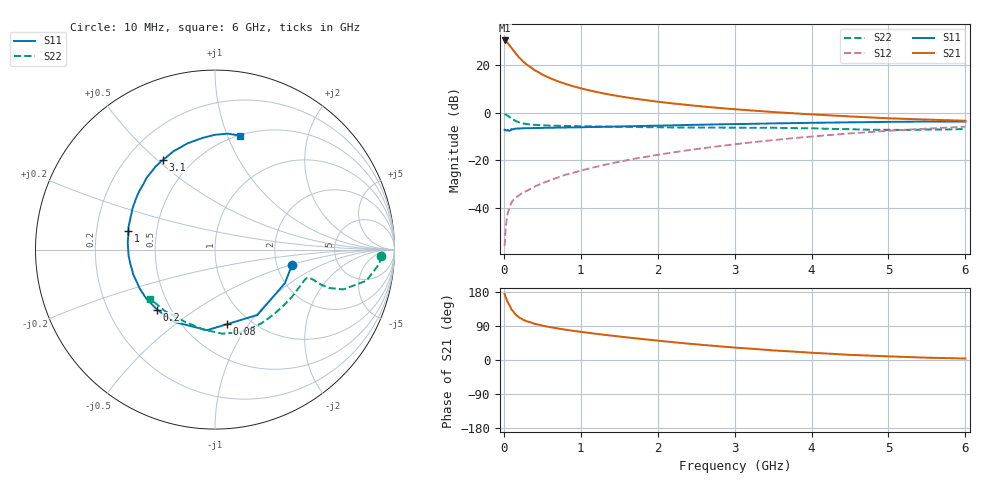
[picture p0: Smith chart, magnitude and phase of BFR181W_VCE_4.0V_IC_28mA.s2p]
! Infineon Technologies  Discrete & RF Semiconductors
! BFR181W
! VCE =  4.0 V,  IC =  28 mA
! Common Emitter S-Parameters:  Jan 2017
# GHz  S  MA  R  50
!  f  S11  S21  S12  S22
! GHz  MAG  ANG  MAG  ANG  MAG  ANG  MAG  ANG
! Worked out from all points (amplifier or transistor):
!   77 points, 10 MHz to 6 GHz, reference 50 ohm
!   highest |S21| = 30.2 dB at 10 MHz (marker M1)
!   |S21| within 3 dB of that: start of sweep to 96.02 MHz
!   unconditionally stable (mu >= 1): start of sweep to 11.87 MHz; 298.2 MHz to 2.612 GHz
!   at 130 MHz: K = 0.61, MSG = 31.1 dB, |S12| = -36.4 dB
!   at 2.2 GHz: K = 1.08, MAG = 8.6 dB, |S12| = -16.7 dB
!   at 6 GHz: K = 0.94, MSG = 1.2 dB, |S12| = -5.9 dB
!   S11 on the Smith chart (normalised r, x): 10 MHz: 2.42, -0.52; 80 MHz: 0.79, -0.80; 200 MHz: 0.42, -0.36; 1 GHz: 0.34, +0.09; 3.1 GHz: 0.35, +0.52; 6 GHz: 0.51, +1.11
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0.01  0.4369 -11.5  32.34 174.6  0.0016 86.0  0.9228 -2.1
0.02  0.4322 -25.6  31.77 168.2  0.0031 79.0  0.9201 -4.8
0.05  0.4341 -57.0  28.75 152.5  0.0077 72.7  0.8617 -11.6
0.08  0.4207 -80.7  24.64 141.9  0.011 64.6  0.7929 -14.8
0.1  0.4515 -95.7  22.51 132.8  0.0132 61.4  0.7486 -17.2
0.15  0.4624 -119.6  17.64 120.7  0.0166 59.1  0.6715 -18.6
0.2  0.4649 -134.1  14.17 112.2  0.0186 59.2  0.6235 -18.3
0.25  0.4701 -144.7  11.8 106.4  0.0215 59.2  0.5947 -17.7
0.3  0.4721 -152.4  10.04 102.0  0.0229 62.0  0.5746 -17.1
0.4  0.4756 -162.9  7.736 95.5  0.0283 65.1  0.5534 -16.7
0.5  0.4783 -170.4  6.255 90.8  0.033 68.0  0.5422 -16.9
0.6  0.4827 -176.0  5.261 86.7  0.0384 70.2  0.5346 -17.4
0.7  0.4841 179.4  4.53 83.3  0.0436 73.4  0.5291 -18.2
0.9  0.4892 171.4  3.56 77.1  0.0549 75.8  0.5218 -20.5
1  0.4931 168.1  3.229 74.4  0.061 76.9  0.5178 -21.9
1.1  0.4986 165.0  2.946 71.8  0.067 77.8  0.516 -23.3
1.5  0.5129 154.0  2.2 62.0  0.0933 79.4  0.5043 -29.8
2.1  0.5367 139.8  1.62 49.1  0.1384 78.6  0.4902 -41.9
3.1  0.5774 120.2  1.144 31.4  0.2262 72.4  0.4815 -64.6
4.1  0.6137 102.7  0.899 18.1  0.3253 62.7  0.4642 -87.6
5.1  0.6411 88.7  0.75 8.9  0.4241 50.8  0.4341 -117.1
6  0.6503 77.5  0.674 3.8  0.5066 39.5  0.4532 -143.0
